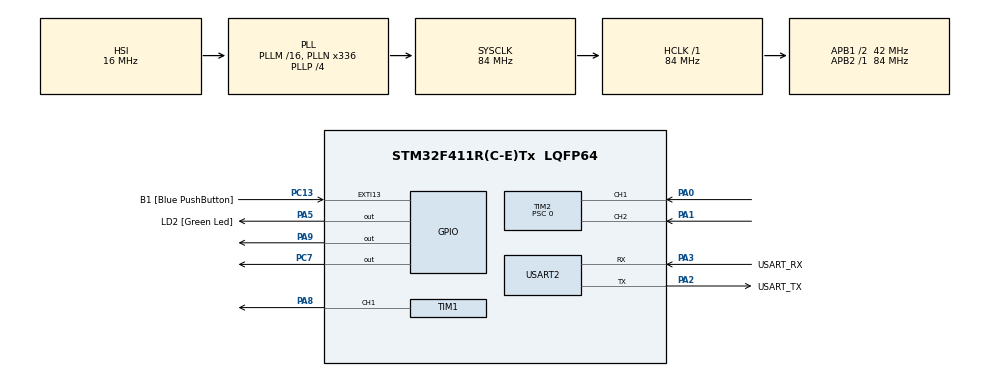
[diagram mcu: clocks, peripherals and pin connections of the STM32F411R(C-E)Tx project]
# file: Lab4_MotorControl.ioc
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Mcu.Family=STM32F4
Mcu.Name=STM32F411R(C-E)Tx
Mcu.Package=LQFP64
NVIC.PriorityGroup=NVIC_PRIORITYGROUP_0
PA0-WKUP.Signal=S_TIM2_CH1_ETR
PA1.Signal=S_TIM2_CH2
PA13.GPIO_Label=TMS
PA13.Mode=Trace_Asynchronous_SW
PA13.Signal=SYS_JTMS-SWDIO
PA14.GPIO_Label=TCK
PA14.Mode=Trace_Asynchronous_SW
PA14.Signal=SYS_JTCK-SWCLK
PA2.GPIO_Label=USART_TX
PA2.Mode=Asynchronous
PA2.Signal=USART2_TX
PA3.GPIO_Label=USART_RX
PA3.Mode=Asynchronous
PA3.Signal=USART2_RX
PA5.GPIO_Label=LD2 [Green Led]
PA5.Signal=GPIO_Output
PA8.Signal=S_TIM1_CH1
PA9.Signal=GPIO_Output
PB3.GPIO_Label=SWO
PB3.Mode=Trace_Asynchronous_SW
PB3.Signal=SYS_JTDO-SWO
PC13-ANTI_TAMP.GPIO_Label=B1 [Blue PushButton]
PC13-ANTI_TAMP.GPIO_ModeDefaultEXTI=GPIO_MODE_IT_FALLING
PC13-ANTI_TAMP.Signal=GPXTI13
PC14-OSC32_IN.Mode=LSE-External-Oscillator
PC14-OSC32_IN.Signal=RCC_OSC32_IN
PC15-OSC32_OUT.Mode=LSE-External-Oscillator
PC15-OSC32_OUT.Signal=RCC_OSC32_OUT
PC7.Signal=GPIO_Output
PH0\ -\ OSC_IN.Mode=HSE-External-Clock-Source
PH0\ -\ OSC_IN.Signal=RCC_OSC_IN
PH1\ -\ OSC_OUT.Mode=HSE-External-Clock-Source
PH1\ -\ OSC_OUT.Signal=RCC_OSC_OUT
ProjectManager.HeapSize=0x200
ProjectManager.StackSize=0x400
ProjectManager.TargetToolchain=STM32CubeIDE
RCC.48MHZClocksFreq_Value=84000000
RCC.AHBFreq_Value=84000000
RCC.APB1CLKDivider=RCC_HCLK_DIV2
RCC.APB1Freq_Value=42000000
RCC.APB1TimFreq_Value=84000000
RCC.APB2Freq_Value=84000000
RCC.APB2TimFreq_Value=84000000
RCC.CortexFreq_Value=84000000
RCC.FLatency-AdvancedSettings=FLASH_LATENCY_2
RCC.HCLKFreq_Value=84000000
RCC.HSE_VALUE=8000000
RCC.HSI_VALUE=16000000
RCC.PLLN=336
RCC.PLLP=RCC_PLLP_DIV4
RCC.SYSCLKFreq_VALUE=84000000
RCC.SYSCLKSource=RCC_SYSCLKSOURCE_PLLCLK
RCC.VCOOutputFreq_Value=336000000
SH.S_TIM1_CH1.0=TIM1_CH1,PWM Generation1 CH1
SH.S_TIM2_CH1_ETR.0=TIM2_CH1,Encoder_Interface
SH.S_TIM2_CH2.0=TIM2_CH2,Encoder_Interface
TIM1.Channel-PWM\ Generation1\ CH1=TIM_CHANNEL_1
TIM1.Period=999
TIM1.Prescaler=83
TIM1.Pulse-PWM\ Generation1\ CH1=50
TIM2.EncoderMode=TIM_ENCODERMODE_TI12
TIM2.Period=4294967295
TIM2.Prescaler=0
USART2.VirtualMode=VM_ASYNC
VP_TIM1_VS_ClockSourceINT.Mode=Internal
board=NUCLEO-F411RE

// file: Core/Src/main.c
/* USER CODE BEGIN Header */
/**
 ******************************************************************************
 * @file           : main.c
 * @brief          : Main program body
 ******************************************************************************
 * @attention
 *
 * Copyright (c) 2023 STMicroelectronics.
 * All rights reserved.
 *
 * This software is licensed under terms that can be found in the LICENSE file
 * in the root directory of this software component.
 * If no LICENSE file comes with this software, it is provided AS-IS.
 *
 ******************************************************************************
 */
/* USER CODE END Header */
#include "main.h"

/* USER CODE BEGIN Includes */
#include "arm_math.h"

/* USER CODE END Includes */

TIM_HandleTypeDef htim1;
TIM_HandleTypeDef htim2;

UART_HandleTypeDef huart2;

/* USER CODE BEGIN PV */
uint32_t counterPulse_unsigned = 0;
int32_t counterPulse = 0;
float counterPosition = 0;

arm_pid_instance_f32 PID = { 0 };
float position = 0;
float setposition = 1000.0;
float error = 0;
float outputPID = 0;
float MotorSetDuty = 500;

/* USER CODE END PV */

void SystemClock_Config(void);
static void MX_GPIO_Init(void);
static void MX_USART2_UART_Init(void);
static void MX_TIM2_Init(void);
static void MX_TIM1_Init(void);
/* USER CODE BEGIN PFP */
void QEIEncoderPositionVelocity_Update();
void MotorPIDControl();
/* USER CODE END PFP */

int main(void)
{

  /* MCU Configuration--------------------------------------------------------*/

  /* Reset of all peripherals, Initializes the Flash interface and the Systick. */
  HAL_Init();

  /* Configure the system clock */
  SystemClock_Config();

  /* Initialize all configured peripherals */
  MX_GPIO_Init();
  MX_USART2_UART_Init();
  MX_TIM2_Init();
  MX_TIM1_Init();
  /* USER CODE BEGIN 2 */

	HAL_TIM_Encoder_Start(&htim2, TIM_CHANNEL_1 | TIM_CHANNEL_2);
	HAL_TIM_Base_Start(&htim1);
	HAL_TIM_PWM_Start(&htim1, TIM_CHANNEL_1);

	PID.Kp = 23.25;
	PID.Ki = 0.0000000001;
	PID.Kd = 6.25;
	arm_pid_init_f32(&PID, 1);

  /* USER CODE END 2 */

  /* Infinite loop */
	while (1) {

    /* USER CODE BEGIN 3 */

		static uint32_t timestamp = 0;
		if (timestamp < HAL_GetTick()) //1000Hz
		{
			timestamp = HAL_GetTick() + 1; //1/0.001

			QEIEncoderPositionVelocity_Update();

			MotorPIDControl();

			__HAL_TIM_SET_COMPARE(&htim1, TIM_CHANNEL_1, MotorSetDuty);
		}

	}
  /* USER CODE END 3 */
}

void SystemClock_Config(void)
{
  RCC_OscInitTypeDef RCC_OscInitStruct = {0};
  RCC_ClkInitTypeDef RCC_ClkInitStruct = {0};

  /** Configure the main internal regulator output voltage
  */
  __HAL_RCC_PWR_CLK_ENABLE();
  __HAL_PWR_VOLTAGESCALING_CONFIG(PWR_REGULATOR_VOLTAGE_SCALE1);

  /** Initializes the RCC Oscillators according to the specified parameters
  * in the RCC_OscInitTypeDef structure.
  */
  RCC_OscInitStruct.OscillatorType = RCC_OSCILLATORTYPE_HSI;
  RCC_OscInitStruct.HSIState = RCC_HSI_ON;
  RCC_OscInitStruct.HSICalibrationValue = RCC_HSICALIBRATION_DEFAULT;
  RCC_OscInitStruct.PLL.PLLState = RCC_PLL_ON;
  RCC_OscInitStruct.PLL.PLLSource = RCC_PLLSOURCE_HSI;
  RCC_OscInitStruct.PLL.PLLM = 16;
  RCC_OscInitStruct.PLL.PLLN = 336;
  RCC_OscInitStruct.PLL.PLLP = RCC_PLLP_DIV4;
  RCC_OscInitStruct.PLL.PLLQ = 4;
  if (HAL_RCC_OscConfig(&RCC_OscInitStruct) != HAL_OK)
  {
    Error_Handler();
  }

  /** Initializes the CPU, AHB and APB buses clocks
  */
  RCC_ClkInitStruct.ClockType = RCC_CLOCKTYPE_HCLK|RCC_CLOCKTYPE_SYSCLK
                              |RCC_CLOCKTYPE_PCLK1|RCC_CLOCKTYPE_PCLK2;
  RCC_ClkInitStruct.SYSCLKSource = RCC_SYSCLKSOURCE_PLLCLK;
  RCC_ClkInitStruct.AHBCLKDivider = RCC_SYSCLK_DIV1;
  RCC_ClkInitStruct.APB1CLKDivider = RCC_HCLK_DIV2;
  RCC_ClkInitStruct.APB2CLKDivider = RCC_HCLK_DIV1;

  if (HAL_RCC_ClockConfig(&RCC_ClkInitStruct, FLASH_LATENCY_2) != HAL_OK)
  {
    Error_Handler();
  }
}

static void MX_TIM1_Init(void)
{

  TIM_ClockConfigTypeDef sClockSourceConfig = {0};
  TIM_MasterConfigTypeDef sMasterConfig = {0};
  TIM_OC_InitTypeDef sConfigOC = {0};
  TIM_BreakDeadTimeConfigTypeDef sBreakDeadTimeConfig = {0};

  htim1.Instance = TIM1;
  htim1.Init.Prescaler = 83;
  htim1.Init.CounterMode = TIM_COUNTERMODE_UP;
  htim1.Init.Period = 999;
  htim1.Init.ClockDivision = TIM_CLOCKDIVISION_DIV1;
  htim1.Init.RepetitionCounter = 0;
  htim1.Init.AutoReloadPreload = TIM_AUTORELOAD_PRELOAD_DISABLE;
  if (HAL_TIM_Base_Init(&htim1) != HAL_OK)
  {
    Error_Handler();
  }
  sClockSourceConfig.ClockSource = TIM_CLOCKSOURCE_INTERNAL;
  if (HAL_TIM_ConfigClockSource(&htim1, &sClockSourceConfig) != HAL_OK)
  {
    Error_Handler();
  }
  if (HAL_TIM_PWM_Init(&htim1) != HAL_OK)
  {
    Error_Handler();
  }
  sMasterConfig.MasterOutputTrigger = TIM_TRGO_RESET;
  sMasterConfig.MasterSlaveMode = TIM_MASTERSLAVEMODE_DISABLE;
  if (HAL_TIMEx_MasterConfigSynchronization(&htim1, &sMasterConfig) != HAL_OK)
  {
    Error_Handler();
  }
  sConfigOC.OCMode = TIM_OCMODE_PWM1;
  sConfigOC.Pulse = 50;
  sConfigOC.OCPolarity = TIM_OCPOLARITY_HIGH;
  sConfigOC.OCNPolarity = TIM_OCNPOLARITY_HIGH;
  sConfigOC.OCFastMode = TIM_OCFAST_DISABLE;
  sConfigOC.OCIdleState = TIM_OCIDLESTATE_RESET;
  sConfigOC.OCNIdleState = TIM_OCNIDLESTATE_RESET;
  if (HAL_TIM_PWM_ConfigChannel(&htim1, &sConfigOC, TIM_CHANNEL_1) != HAL_OK)
  {
    Error_Handler();
  }
  sBreakDeadTimeConfig.OffStateRunMode = TIM_OSSR_DISABLE;
  sBreakDeadTimeConfig.OffStateIDLEMode = TIM_OSSI_DISABLE;
  sBreakDeadTimeConfig.LockLevel = TIM_LOCKLEVEL_OFF;
  sBreakDeadTimeConfig.DeadTime = 0;
  sBreakDeadTimeConfig.BreakState = TIM_BREAK_DISABLE;
  sBreakDeadTimeConfig.BreakPolarity = TIM_BREAKPOLARITY_HIGH;
  sBreakDeadTimeConfig.AutomaticOutput = TIM_AUTOMATICOUTPUT_DISABLE;
  if (HAL_TIMEx_ConfigBreakDeadTime(&htim1, &sBreakDeadTimeConfig) != HAL_OK)
  {
    Error_Handler();
  }
  HAL_TIM_MspPostInit(&htim1);

}

static void MX_TIM2_Init(void)
{

  TIM_Encoder_InitTypeDef sConfig = {0};
  TIM_MasterConfigTypeDef sMasterConfig = {0};

  htim2.Instance = TIM2;
  htim2.Init.Prescaler = 0;
  htim2.Init.CounterMode = TIM_COUNTERMODE_UP;
  htim2.Init.Period = 4294967295;
  htim2.Init.ClockDivision = TIM_CLOCKDIVISION_DIV1;
  htim2.Init.AutoReloadPreload = TIM_AUTORELOAD_PRELOAD_DISABLE;
  sConfig.EncoderMode = TIM_ENCODERMODE_TI12;
  sConfig.IC1Polarity = TIM_ICPOLARITY_RISING;
  sConfig.IC1Selection = TIM_ICSELECTION_DIRECTTI;
  sConfig.IC1Prescaler = TIM_ICPSC_DIV1;
  sConfig.IC1Filter = 0;
  sConfig.IC2Polarity = TIM_ICPOLARITY_RISING;
  sConfig.IC2Selection = TIM_ICSELECTION_DIRECTTI;
  sConfig.IC2Prescaler = TIM_ICPSC_DIV1;
  sConfig.IC2Filter = 0;
  if (HAL_TIM_Encoder_Init(&htim2, &sConfig) != HAL_OK)
  {
    Error_Handler();
  }
  sMasterConfig.MasterOutputTrigger = TIM_TRGO_RESET;
  sMasterConfig.MasterSlaveMode = TIM_MASTERSLAVEMODE_DISABLE;
  if (HAL_TIMEx_MasterConfigSynchronization(&htim2, &sMasterConfig) != HAL_OK)
  {
    Error_Handler();
  }

}

static void MX_USART2_UART_Init(void)
{

  huart2.Instance = USART2;
  huart2.Init.BaudRate = 115200;
  huart2.Init.WordLength = UART_WORDLENGTH_8B;
  huart2.Init.StopBits = UART_STOPBITS_1;
  huart2.Init.Parity = UART_PARITY_NONE;
  huart2.Init.Mode = UART_MODE_TX_RX;
  huart2.Init.HwFlowCtl = UART_HWCONTROL_NONE;
  huart2.Init.OverSampling = UART_OVERSAMPLING_16;
  if (HAL_UART_Init(&huart2) != HAL_OK)
  {
    Error_Handler();
  }

}

static void MX_GPIO_Init(void)
{
  GPIO_InitTypeDef GPIO_InitStruct = {0};

  /* GPIO Ports Clock Enable */
  __HAL_RCC_GPIOC_CLK_ENABLE();
  __HAL_RCC_GPIOH_CLK_ENABLE();
  __HAL_RCC_GPIOA_CLK_ENABLE();
  __HAL_RCC_GPIOB_CLK_ENABLE();

  /*Configure GPIO pin Output Level */
  HAL_GPIO_WritePin(GPIOA, LD2_Pin|GPIO_PIN_9, GPIO_PIN_RESET);

  /*Configure GPIO pin Output Level */
  HAL_GPIO_WritePin(GPIOC, GPIO_PIN_7, GPIO_PIN_RESET);

  /*Configure GPIO pin : B1_Pin */
  GPIO_InitStruct.Pin = B1_Pin;
  GPIO_InitStruct.Mode = GPIO_MODE_IT_FALLING;
  GPIO_InitStruct.Pull = GPIO_NOPULL;
  HAL_GPIO_Init(B1_GPIO_Port, &GPIO_InitStruct);

  /*Configure GPIO pins : LD2_Pin PA9 */
  GPIO_InitStruct.Pin = LD2_Pin|GPIO_PIN_9;
  GPIO_InitStruct.Mode = GPIO_MODE_OUTPUT_PP;
  GPIO_InitStruct.Pull = GPIO_NOPULL;
  GPIO_InitStruct.Speed = GPIO_SPEED_FREQ_LOW;
  HAL_GPIO_Init(GPIOA, &GPIO_InitStruct);

  /*Configure GPIO pin : PC7 */
  GPIO_InitStruct.Pin = GPIO_PIN_7;
  GPIO_InitStruct.Mode = GPIO_MODE_OUTPUT_PP;
  GPIO_InitStruct.Pull = GPIO_NOPULL;
  GPIO_InitStruct.Speed = GPIO_SPEED_FREQ_LOW;
  HAL_GPIO_Init(GPIOC, &GPIO_InitStruct);

}

/* USER CODE BEGIN 4 */
void QEIEncoderPositionVelocity_Update()
{
	counterPulse_unsigned = __HAL_TIM_GET_COUNTER(&htim2);
	counterPulse = (int32_t) counterPulse_unsigned;
	counterPosition = (counterPulse / 3072.0) * 360;
}

void MotorPIDControl()
{
	error = setposition - position;
	outputPID = arm_pid_f32(&PID, error);
	position = counterPosition;

	MotorSetDuty = outputPID;

	if(MotorSetDuty > 1000)
	{
		MotorSetDuty = 1000;
	}
	else if(MotorSetDuty < -1000)
	{
		MotorSetDuty = -1000;
	}
	if(MotorSetDuty > 0)
	{
		HAL_GPIO_WritePin(GPIOA, GPIO_PIN_9, RESET);
		HAL_GPIO_WritePin(GPIOC, GPIO_PIN_7, SET);
	}
	else if(MotorSetDuty < 0)
	{
		MotorSetDuty *= (-1);
		HAL_GPIO_WritePin(GPIOC, GPIO_PIN_7, RESET);
		HAL_GPIO_WritePin(GPIOA, GPIO_PIN_9, SET);
	}
	else
	{
		MotorSetDuty = 0;
	}
	if(error > -1 && error < 1)
	{
		MotorSetDuty = 0;
	}

}
/* USER CODE END 4 */

void Error_Handler(void)
{
	__disable_irq();
	while (1) {
	}
}
